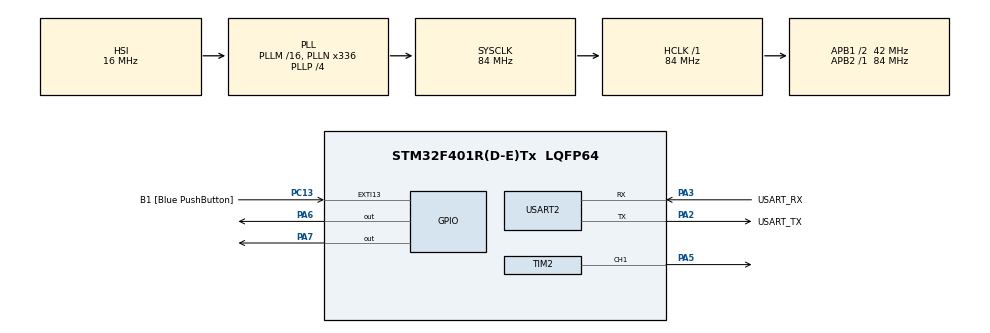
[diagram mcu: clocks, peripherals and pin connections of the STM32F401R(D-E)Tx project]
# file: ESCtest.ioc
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Mcu.Family=STM32F4
Mcu.Name=STM32F401R(D-E)Tx
Mcu.Package=LQFP64
NVIC.PriorityGroup=NVIC_PRIORITYGROUP_0
PA13.GPIO_Label=TMS
PA13.Mode=Serial_Wire
PA13.Signal=SYS_JTMS-SWDIO
PA14.GPIO_Label=TCK
PA14.Mode=Serial_Wire
PA14.Signal=SYS_JTCK-SWCLK
PA2.GPIO_Label=USART_TX
PA2.GPIO_Mode=GPIO_MODE_AF_PP
PA2.GPIO_PuPd=GPIO_NOPULL
PA2.GPIO_Speed=GPIO_SPEED_FREQ_LOW
PA2.Mode=Asynchronous
PA2.Signal=USART2_TX
PA3.GPIO_Label=USART_RX
PA3.GPIO_Mode=GPIO_MODE_AF_PP
PA3.GPIO_PuPd=GPIO_NOPULL
PA3.GPIO_Speed=GPIO_SPEED_FREQ_LOW
PA3.Mode=Asynchronous
PA3.Signal=USART2_RX
PA5.Signal=S_TIM2_CH1_ETR
PA6.Signal=GPIO_Output
PA7.Signal=GPIO_Output
PB3.GPIO_Label=SWO
PB3.Signal=SYS_JTDO-SWO
PC13-ANTI_TAMP.GPIO_Label=B1 [Blue PushButton]
PC13-ANTI_TAMP.GPIO_ModeDefaultEXTI=GPIO_MODE_IT_FALLING
PC13-ANTI_TAMP.GPIO_PuPd=GPIO_NOPULL
PC13-ANTI_TAMP.Signal=GPXTI13
PC14-OSC32_IN.Mode=LSE-External-Oscillator
PC14-OSC32_IN.Signal=RCC_OSC32_IN
PC15-OSC32_OUT.Mode=LSE-External-Oscillator
PC15-OSC32_OUT.Signal=RCC_OSC32_OUT
PH0\ -\ OSC_IN.Mode=HSE-External-Clock-Source
PH0\ -\ OSC_IN.Signal=RCC_OSC_IN
PH1\ -\ OSC_OUT.Mode=HSE-External-Clock-Source
PH1\ -\ OSC_OUT.Signal=RCC_OSC_OUT
ProjectManager.HeapSize=0x200
ProjectManager.StackSize=0x400
ProjectManager.TargetToolchain=STM32CubeIDE
RCC.48MHZClocksFreq_Value=48000000
RCC.AHBFreq_Value=84000000
RCC.APB1CLKDivider=RCC_HCLK_DIV2
RCC.APB1Freq_Value=42000000
RCC.APB1TimFreq_Value=84000000
RCC.APB2Freq_Value=84000000
RCC.APB2TimFreq_Value=84000000
RCC.CortexFreq_Value=84000000
RCC.HCLKFreq_Value=84000000
RCC.HSE_VALUE=8000000
RCC.HSI_VALUE=16000000
RCC.PLLN=336
RCC.PLLP=RCC_PLLP_DIV4
RCC.PLLQ=7
RCC.SYSCLKFreq_VALUE=84000000
RCC.SYSCLKSource=RCC_SYSCLKSOURCE_PLLCLK
RCC.VCOOutputFreq_Value=336000000
SH.S_TIM2_CH1_ETR.0=TIM2_CH1,PWM Generation1 CH1
TIM2.Channel-PWM\ Generation1\ CH1=TIM_CHANNEL_1
TIM2.OC1Preload_PWM=DISABLE
TIM2.Period=15150
TIM2.Prescaler=83
USART2.VirtualMode=VM_ASYNC
board=NUCLEO-F401RE

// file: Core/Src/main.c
/* USER CODE BEGIN Header */
/**
  ******************************************************************************
  * @file           : main.c
  * @brief          : Main program body
  ******************************************************************************
  * @attention
  *
  * Copyright (c) 2022 STMicroelectronics.
  * All rights reserved.
  *
  * This software is licensed under terms that can be found in the LICENSE file
  * in the root directory of this software component.
  * If no LICENSE file comes with this software, it is provided AS-IS.
  *
  ******************************************************************************
  */
/* USER CODE END Header */
#include "main.h"

TIM_HandleTypeDef htim2;

UART_HandleTypeDef huart2;

void SystemClock_Config(void);
static void MX_GPIO_Init(void);
static void MX_USART2_UART_Init(void);
static void MX_TIM2_Init(void);

int main(void)
{

  /* MCU Configuration--------------------------------------------------------*/

  /* Reset of all peripherals, Initializes the Flash interface and the Systick. */
  HAL_Init();

  /* Configure the system clock */
  SystemClock_Config();

  /* Initialize all configured peripherals */
  MX_GPIO_Init();
  MX_USART2_UART_Init();
  MX_TIM2_Init();

  /* Infinite loop */
  /* USER CODE BEGIN WHILE */
  HAL_TIM_PWM_Start(&htim2, TIM_CHANNEL_1);
  int duty=909;
  __HAL_TIM_SET_COMPARE(&htim2, TIM_CHANNEL_1, 909);
  HAL_Delay(4000);
  int up=1;
  int switching_count=0;
  int direction=1;
  HAL_GPIO_WritePin(GPIOA, GPIO_PIN_6, GPIO_PIN_SET);
  HAL_GPIO_WritePin(GPIOA, GPIO_PIN_7, GPIO_PIN_RESET);
  while (1)
  {
//	__HAL_TIM_SET_COMPARE(&htim2, TIM_CHANNEL_1, 909);
//	HAL_Delay(100);
	  if(up==1)duty++;
	  else if(up==-1) duty--;
	  __HAL_TIM_SET_COMPARE(&htim2, TIM_CHANNEL_1, duty);
	  if(duty>1818)up=-1;
	  if(duty<909){
		  switching_count++;
		  up=0;
	  }
	  if(switching_count==500){
		  if(duty<909){
			  if(direction==1){
				  HAL_GPIO_WritePin(GPIOA, GPIO_PIN_7, GPIO_PIN_SET);
				  HAL_GPIO_WritePin(GPIOA, GPIO_PIN_6, GPIO_PIN_RESET);
				  direction=0;
			  }
			  else{
				  HAL_GPIO_WritePin(GPIOA, GPIO_PIN_6, GPIO_PIN_SET);
				  HAL_GPIO_WritePin(GPIOA, GPIO_PIN_7, GPIO_PIN_RESET);
				  direction=1;
			  }
		  }
	  }
	  if(switching_count>1000){
		  switching_count=0;
		  up=1;
	  }
	  HAL_Delay(1);
    /* USER CODE END WHILE */

  }
}

void SystemClock_Config(void)
{
  RCC_OscInitTypeDef RCC_OscInitStruct = {0};
  RCC_ClkInitTypeDef RCC_ClkInitStruct = {0};

  /** Configure the main internal regulator output voltage
  */
  __HAL_RCC_PWR_CLK_ENABLE();
  __HAL_PWR_VOLTAGESCALING_CONFIG(PWR_REGULATOR_VOLTAGE_SCALE2);

  /** Initializes the RCC Oscillators according to the specified parameters
  * in the RCC_OscInitTypeDef structure.
  */
  RCC_OscInitStruct.OscillatorType = RCC_OSCILLATORTYPE_HSI;
  RCC_OscInitStruct.HSIState = RCC_HSI_ON;
  RCC_OscInitStruct.HSICalibrationValue = RCC_HSICALIBRATION_DEFAULT;
  RCC_OscInitStruct.PLL.PLLState = RCC_PLL_ON;
  RCC_OscInitStruct.PLL.PLLSource = RCC_PLLSOURCE_HSI;
  RCC_OscInitStruct.PLL.PLLM = 16;
  RCC_OscInitStruct.PLL.PLLN = 336;
  RCC_OscInitStruct.PLL.PLLP = RCC_PLLP_DIV4;
  RCC_OscInitStruct.PLL.PLLQ = 7;
  if (HAL_RCC_OscConfig(&RCC_OscInitStruct) != HAL_OK)
  {
    Error_Handler();
  }

  /** Initializes the CPU, AHB and APB buses clocks
  */
  RCC_ClkInitStruct.ClockType = RCC_CLOCKTYPE_HCLK|RCC_CLOCKTYPE_SYSCLK
                              |RCC_CLOCKTYPE_PCLK1|RCC_CLOCKTYPE_PCLK2;
  RCC_ClkInitStruct.SYSCLKSource = RCC_SYSCLKSOURCE_PLLCLK;
  RCC_ClkInitStruct.AHBCLKDivider = RCC_SYSCLK_DIV1;
  RCC_ClkInitStruct.APB1CLKDivider = RCC_HCLK_DIV2;
  RCC_ClkInitStruct.APB2CLKDivider = RCC_HCLK_DIV1;

  if (HAL_RCC_ClockConfig(&RCC_ClkInitStruct, FLASH_LATENCY_2) != HAL_OK)
  {
    Error_Handler();
  }
}

static void MX_TIM2_Init(void)
{

  TIM_MasterConfigTypeDef sMasterConfig = {0};
  TIM_OC_InitTypeDef sConfigOC = {0};

  htim2.Instance = TIM2;
  htim2.Init.Prescaler = 83;
  htim2.Init.CounterMode = TIM_COUNTERMODE_UP;
  htim2.Init.Period = 15150;
  htim2.Init.ClockDivision = TIM_CLOCKDIVISION_DIV1;
  htim2.Init.AutoReloadPreload = TIM_AUTORELOAD_PRELOAD_DISABLE;
  if (HAL_TIM_PWM_Init(&htim2) != HAL_OK)
  {
    Error_Handler();
  }
  sMasterConfig.MasterOutputTrigger = TIM_TRGO_RESET;
  sMasterConfig.MasterSlaveMode = TIM_MASTERSLAVEMODE_DISABLE;
  if (HAL_TIMEx_MasterConfigSynchronization(&htim2, &sMasterConfig) != HAL_OK)
  {
    Error_Handler();
  }
  sConfigOC.OCMode = TIM_OCMODE_PWM1;
  sConfigOC.Pulse = 0;
  sConfigOC.OCPolarity = TIM_OCPOLARITY_HIGH;
  sConfigOC.OCFastMode = TIM_OCFAST_DISABLE;
  if (HAL_TIM_PWM_ConfigChannel(&htim2, &sConfigOC, TIM_CHANNEL_1) != HAL_OK)
  {
    Error_Handler();
  }
  __HAL_TIM_DISABLE_OCxPRELOAD(&htim2, TIM_CHANNEL_1);
  HAL_TIM_MspPostInit(&htim2);

}

static void MX_USART2_UART_Init(void)
{

  huart2.Instance = USART2;
  huart2.Init.BaudRate = 115200;
  huart2.Init.WordLength = UART_WORDLENGTH_8B;
  huart2.Init.StopBits = UART_STOPBITS_1;
  huart2.Init.Parity = UART_PARITY_NONE;
  huart2.Init.Mode = UART_MODE_TX_RX;
  huart2.Init.HwFlowCtl = UART_HWCONTROL_NONE;
  huart2.Init.OverSampling = UART_OVERSAMPLING_16;
  if (HAL_UART_Init(&huart2) != HAL_OK)
  {
    Error_Handler();
  }

}

static void MX_GPIO_Init(void)
{
  GPIO_InitTypeDef GPIO_InitStruct = {0};

  /* GPIO Ports Clock Enable */
  __HAL_RCC_GPIOC_CLK_ENABLE();
  __HAL_RCC_GPIOH_CLK_ENABLE();
  __HAL_RCC_GPIOA_CLK_ENABLE();
  __HAL_RCC_GPIOB_CLK_ENABLE();

  /*Configure GPIO pin Output Level */
  HAL_GPIO_WritePin(GPIOA, GPIO_PIN_6|GPIO_PIN_7, GPIO_PIN_RESET);

  /*Configure GPIO pin : B1_Pin */
  GPIO_InitStruct.Pin = B1_Pin;
  GPIO_InitStruct.Mode = GPIO_MODE_IT_FALLING;
  GPIO_InitStruct.Pull = GPIO_NOPULL;
  HAL_GPIO_Init(B1_GPIO_Port, &GPIO_InitStruct);

  /*Configure GPIO pins : PA6 PA7 */
  GPIO_InitStruct.Pin = GPIO_PIN_6|GPIO_PIN_7;
  GPIO_InitStruct.Mode = GPIO_MODE_OUTPUT_PP;
  GPIO_InitStruct.Pull = GPIO_NOPULL;
  GPIO_InitStruct.Speed = GPIO_SPEED_FREQ_LOW;
  HAL_GPIO_Init(GPIOA, &GPIO_InitStruct);

}

void Error_Handler(void)
{
  __disable_irq();
  while (1)
  {
  }
}
